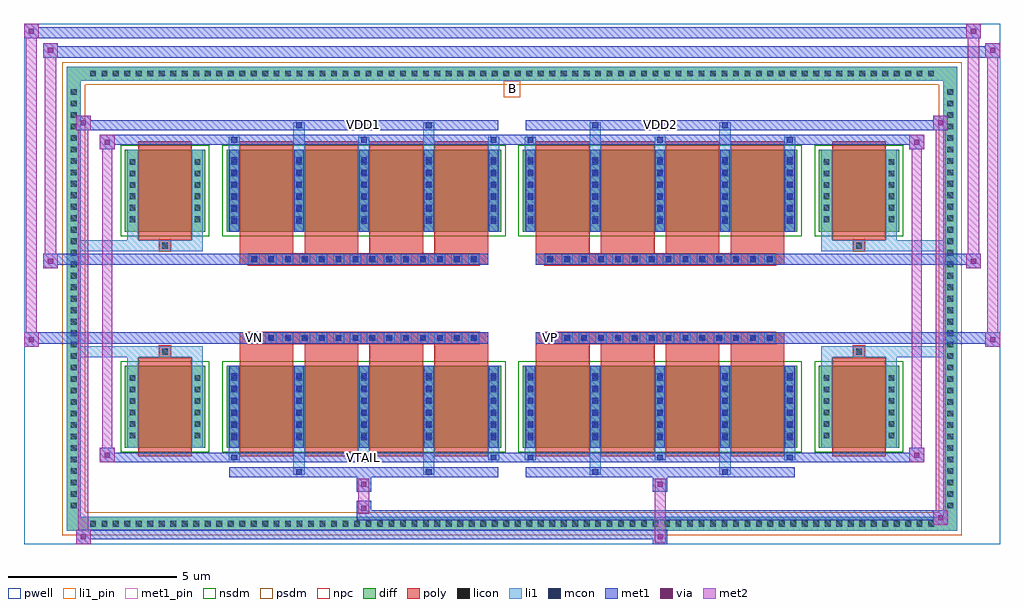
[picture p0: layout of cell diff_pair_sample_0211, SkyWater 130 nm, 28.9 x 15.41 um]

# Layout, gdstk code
import gdstk
lib = gdstk.Library(unit=1e-6, precision=5e-09)
def R(c, l, rs):  # rectangles x0, y0, x1, y1
    for r in rs: c.add(gdstk.rectangle(r[:2], r[2:], *l))
def A(c, l, x, y, w, h, nx, ny, dx, dy):  # array of equal rectangles
    R(c, l, [(x+i*dx, y+j*dy, x+i*dx+w, y+j*dy+h) for i in range(nx) for j in range(ny)])
def P(c, l, *ps):  # polygons
    for p in ps: c.add(gdstk.Polygon(p, *l))
pwell = (64, 44)
diff = (65, 20)
poly = (66, 20)
licon = (66, 44)
li1_pin = (67, 16)
li1 = (67, 20)
mcon = (67, 44)
met1_pin = (68, 16)
met1 = (68, 20)
via = (68, 44)
met2 = (69, 20)
nsdm = (93, 44)
psdm = (94, 20)
npc = (95, 20)

diff_pair_sample_0211 = lib.new_cell('diff_pair_sample_0211')
R(diff_pair_sample_0211, pwell, [(-14.45,-7.27,14.45,8.14), (-11.77,-5.46,-0.01,-0.8), (0.01,-5.46,11.77,-0.8), (-11.77,0.8,-0.01,5.46), (0.01,0.8,11.77,5.46)])
A(diff_pair_sample_0211, diff, -12.615, -6.87, 0.41, 0.41, 74, 2, 0.34, 13.33)
A(diff_pair_sample_0211, diff, -13.18, -6.325, 0.41, 0.41, 1, 37, 0, 0.34)
A(diff_pair_sample_0211, diff, 12.77, -6.325, 0.41, 0.41, 1, 37, 0, 0.34)
R(diff_pair_sample_0211, diff, [(-12.615,-6.87,12.615,-6.46), (-13.18,-6.325,-12.77,6.325), (12.77,-6.325,13.18,6.325), (-11.46,-4.415,-9.09,-1.985), (-8.45,-4.415,-0.32,-1.985), (0.32,-4.415,8.45,-1.985), (9.09,-4.415,11.46,-1.985), (-11.46,1.985,-9.09,4.415), (-8.45,1.985,-0.32,4.415), (0.32,1.985,8.45,4.415), (9.09,1.985,11.46,4.415), (-12.615,6.46,12.615,6.87)])
P(diff_pair_sample_0211, diff, [(13.18,6.87),(-13.18,6.87),(-13.18,-6.46),(-12.77,-6.46),(-12.77,6.46),(12.77,6.46),(12.77,-6.46),(-12.77,-6.46),(-13.18,-6.46),(-13.18,-6.87),(13.18,-6.87)])
A(diff_pair_sample_0211, poly, -8.06, -4.665, 1.59, 2.93, 4, 2, 1.92, 6.4)
A(diff_pair_sample_0211, poly, 0.71, -4.665, 1.59, 2.93, 4, 2, 1.92, 6.4)
A(diff_pair_sample_0211, poly, -8.06, -1.735, 1.59, 0.405, 4, 2, 1.92, 3.065)
A(diff_pair_sample_0211, poly, 0.71, -1.735, 1.59, 0.405, 4, 2, 1.92, 3.065)
A(diff_pair_sample_0211, poly, -7.8, -1.33, 0.33, 0.33, 14, 2, 0.5, 2.33)
A(diff_pair_sample_0211, poly, 0.97, -1.33, 0.33, 0.33, 14, 2, 0.5, 2.33)
R(diff_pair_sample_0211, poly, [(-11.07,-4.665,-9.48,-1.735), (9.48,-4.665,11.07,-1.735), (-10.44,-1.735,-10.11,-1.405), (-10.44,-1.735,-10.11,-1.405), (10.11,-1.735,10.44,-1.405), (10.11,-1.735,10.44,-1.405), (-8.06,-1.33,-0.71,-1), (0.71,-1.33,8.06,-1), (-8.06,1,-0.71,1.33), (0.71,1,8.06,1.33), (-10.44,1.405,-10.11,1.735), (-10.44,1.405,-10.11,1.735), (10.11,1.405,10.44,1.735), (10.11,1.405,10.44,1.735), (-11.07,1.735,-9.48,4.665), (9.48,1.735,11.07,4.665)])
A(diff_pair_sample_0211, licon, -12.495, -6.75, 0.17, 0.17, 74, 2, 0.34, 13.33)
A(diff_pair_sample_0211, licon, -13.06, -6.205, 0.17, 0.17, 1, 37, 0, 0.34)
A(diff_pair_sample_0211, licon, 12.89, -6.205, 0.17, 0.17, 1, 37, 0, 0.34)
A(diff_pair_sample_0211, licon, -11.32, -4.135, 0.17, 0.17, 1, 6, 0, 0.34)
A(diff_pair_sample_0211, licon, -9.4, -4.135, 0.17, 0.17, 1, 6, 0, 0.34)
A(diff_pair_sample_0211, licon, -8.31, -4.135, 0.17, 0.17, 5, 6, 1.92, 0.34)
A(diff_pair_sample_0211, licon, 0.46, -4.135, 0.17, 0.17, 5, 6, 1.92, 0.34)
A(diff_pair_sample_0211, licon, 9.23, -4.135, 0.17, 0.17, 1, 6, 0, 0.34)
A(diff_pair_sample_0211, licon, 11.15, -4.135, 0.17, 0.17, 1, 6, 0, 0.34)
A(diff_pair_sample_0211, licon, -7.72, -1.25, 0.17, 0.17, 14, 2, 0.5, 2.33)
A(diff_pair_sample_0211, licon, 1.05, -1.25, 0.17, 0.17, 14, 2, 0.5, 2.33)
A(diff_pair_sample_0211, licon, -11.32, 2.265, 0.17, 0.17, 1, 6, 0, 0.34)
A(diff_pair_sample_0211, licon, -9.4, 2.265, 0.17, 0.17, 1, 6, 0, 0.34)
A(diff_pair_sample_0211, licon, -8.31, 2.265, 0.17, 0.17, 5, 6, 1.92, 0.34)
A(diff_pair_sample_0211, licon, 0.46, 2.265, 0.17, 0.17, 5, 6, 1.92, 0.34)
A(diff_pair_sample_0211, licon, 9.23, 2.265, 0.17, 0.17, 1, 6, 0, 0.34)
A(diff_pair_sample_0211, licon, 11.15, 2.265, 0.17, 0.17, 1, 6, 0, 0.34)
R(diff_pair_sample_0211, licon, [(-10.36,-1.655,-10.19,-1.485), (10.19,-1.655,10.36,-1.485), (-10.36,1.485,-10.19,1.655), (10.19,1.485,10.36,1.655)])
R(diff_pair_sample_0211, li1_pin, [(-0.25,5.96,0.25,6.46)])
A(diff_pair_sample_0211, li1, -12.575, -6.83, 0.33, 0.33, 74, 2, 0.34, 13.33)
A(diff_pair_sample_0211, li1, -13.14, -6.285, 0.33, 0.33, 1, 37, 0, 0.34)
A(diff_pair_sample_0211, li1, 12.81, -6.285, 0.33, 0.33, 1, 37, 0, 0.34)
A(diff_pair_sample_0211, li1, -8.39, -4.79, 0.33, 0.375, 3, 2, 3.84, 9.205)
A(diff_pair_sample_0211, li1, -8.31, -4.79, 0.17, 0.17, 3, 2, 3.84, 9.41)
A(diff_pair_sample_0211, li1, 0.38, -4.79, 0.33, 0.375, 3, 2, 3.84, 9.205)
A(diff_pair_sample_0211, li1, 0.46, -4.79, 0.17, 0.17, 3, 2, 3.84, 9.41)
A(diff_pair_sample_0211, li1, -8.39, -4.415, 0.33, 2.43, 5, 2, 1.92, 6.4)
A(diff_pair_sample_0211, li1, 0.38, -4.415, 0.33, 2.43, 5, 2, 1.92, 6.4)
A(diff_pair_sample_0211, li1, -11.4, -4.215, 0.33, 0.33, 1, 6, 0, 0.34)
A(diff_pair_sample_0211, li1, -9.48, -4.215, 0.33, 0.33, 1, 6, 0, 0.34)
A(diff_pair_sample_0211, li1, -8.39, -4.215, 0.33, 0.33, 5, 6, 1.92, 0.34)
A(diff_pair_sample_0211, li1, 0.38, -4.215, 0.33, 0.33, 5, 6, 1.92, 0.34)
A(diff_pair_sample_0211, li1, 9.15, -4.215, 0.33, 0.33, 1, 6, 0, 0.34)
A(diff_pair_sample_0211, li1, 11.07, -4.215, 0.33, 0.33, 1, 6, 0, 0.34)
A(diff_pair_sample_0211, li1, -8.31, -4.185, 0.17, 0.17, 5, 6, 1.92, 0.36)
A(diff_pair_sample_0211, li1, -8.31, -4.185, 0.17, 1.97, 5, 2, 1.92, 6.4)
A(diff_pair_sample_0211, li1, 0.46, -4.185, 0.17, 0.17, 5, 6, 1.92, 0.36)
A(diff_pair_sample_0211, li1, 0.46, -4.185, 0.17, 1.97, 5, 2, 1.92, 6.4)
A(diff_pair_sample_0211, li1, -7.8, -1.33, 0.33, 0.33, 14, 2, 0.5, 2.33)
A(diff_pair_sample_0211, li1, 0.97, -1.33, 0.33, 0.33, 14, 2, 0.5, 2.33)
A(diff_pair_sample_0211, li1, -11.4, 2.185, 0.33, 0.33, 1, 6, 0, 0.34)
A(diff_pair_sample_0211, li1, -9.48, 2.185, 0.33, 0.33, 1, 6, 0, 0.34)
A(diff_pair_sample_0211, li1, -8.39, 2.185, 0.33, 0.33, 5, 6, 1.92, 0.34)
A(diff_pair_sample_0211, li1, 0.38, 2.185, 0.33, 0.33, 5, 6, 1.92, 0.34)
A(diff_pair_sample_0211, li1, 9.15, 2.185, 0.33, 0.33, 1, 6, 0, 0.34)
A(diff_pair_sample_0211, li1, 11.07, 2.185, 0.33, 0.33, 1, 6, 0, 0.34)
A(diff_pair_sample_0211, li1, -8.31, 2.215, 0.17, 0.17, 5, 6, 1.92, 0.36)
A(diff_pair_sample_0211, li1, 0.46, 2.215, 0.17, 0.17, 5, 6, 1.92, 0.36)
R(diff_pair_sample_0211, li1, [(-13.18,-6.87,-12.77,-6.46), (-13.18,-6.87,-12.77,-6.46), (-12.77,-6.87,12.77,-6.46), (12.77,-6.87,13.18,-6.46), (12.77,-6.87,13.18,-6.46), (-13.18,-6.46,-12.77,6.46), (12.77,-6.46,13.18,6.46), (-6.47,-5.22,-6.14,-4.415), (-6.39,-5.22,-6.22,-5.05), (-2.63,-5.22,-2.3,-4.415), (-2.55,-5.22,-2.38,-5.05), (2.3,-5.22,2.63,-4.415), (2.38,-5.22,2.55,-5.05), (6.14,-5.22,6.47,-4.415), (6.22,-5.22,6.39,-5.05), (-11.4,-4.415,-11.07,-1.985), (-9.48,-4.415,-9.15,-1.985), (9.15,-4.415,9.48,-1.985), (11.07,-4.415,11.4,-1.985), (-11.4,-1.985,-11.07,-1.405), (-9.48,-1.985,-9.15,-1.405), (9.15,-1.985,9.48,-1.405), (11.07,-1.985,11.4,-1.405), (-13.18,-1.735,-10.44,-1.405), (-11.4,-1.735,-10.44,-1.405), (-10.44,-1.735,-10.11,-1.405), (-10.11,-1.735,-9.15,-1.405), (9.15,-1.735,10.11,-1.405), (10.11,-1.735,10.44,-1.405), (10.11,-1.735,13.18,-1.405), (10.44,-1.735,11.4,-1.405), (-13.18,1.405,-10.44,1.735), (-11.4,1.405,-10.44,1.735), (-11.4,1.405,-11.07,1.985), (-10.44,1.405,-10.11,1.735), (-10.11,1.405,-9.15,1.735), (-9.48,1.405,-9.15,1.985), (9.15,1.405,10.11,1.735), (9.15,1.405,9.48,1.985), (10.11,1.405,10.44,1.735), (10.11,1.405,13.18,1.735), (10.44,1.405,11.4,1.735), (11.07,1.405,11.4,1.985), (-11.4,1.985,-11.07,4.415), (-9.48,1.985,-9.15,4.415), (9.15,1.985,9.48,4.415), (11.07,1.985,11.4,4.415), (-6.47,4.415,-6.14,5.22), (-2.63,4.415,-2.3,5.22), (2.3,4.415,2.63,5.22), (6.14,4.415,6.47,5.22), (-6.39,5.05,-6.22,5.22), (-2.55,5.05,-2.38,5.22), (2.38,5.05,2.55,5.22), (6.22,5.05,6.39,5.22), (-13.18,6.46,-12.77,6.87), (-13.18,6.46,-12.77,6.87), (-12.77,6.46,12.77,6.87), (12.77,6.46,13.18,6.87), (12.77,6.46,13.18,6.87)])
A(diff_pair_sample_0211, mcon, -8.31, -4.79, 0.17, 0.17, 3, 2, 3.84, 9.41)
A(diff_pair_sample_0211, mcon, 0.46, -4.79, 0.17, 0.17, 3, 2, 3.84, 9.41)
A(diff_pair_sample_0211, mcon, -8.31, -4.185, 0.17, 0.17, 5, 6, 1.92, 0.36)
A(diff_pair_sample_0211, mcon, 0.46, -4.185, 0.17, 0.17, 5, 6, 1.92, 0.36)
A(diff_pair_sample_0211, mcon, -7.72, -1.25, 0.17, 0.17, 14, 2, 0.5, 2.33)
A(diff_pair_sample_0211, mcon, 1.05, -1.25, 0.17, 0.17, 14, 2, 0.5, 2.33)
A(diff_pair_sample_0211, mcon, -8.31, 2.215, 0.17, 0.17, 5, 6, 1.92, 0.36)
A(diff_pair_sample_0211, mcon, 0.46, 2.215, 0.17, 0.17, 5, 6, 1.92, 0.36)
R(diff_pair_sample_0211, mcon, [(-6.39,-5.22,-6.22,-5.05), (-2.55,-5.22,-2.38,-5.05), (2.38,-5.22,2.55,-5.05), (6.22,-5.22,6.39,-5.05), (-6.39,5.05,-6.22,5.22), (-2.55,5.05,-2.38,5.22), (2.38,5.05,2.55,5.22), (6.22,5.05,6.39,5.22)])
R(diff_pair_sample_0211, met1_pin, [(-4.52,-4.83,-4.25,-4.56), (-7.77,-1.29,-7.5,-1.02), (1,-1.29,1.27,-1.02), (-4.52,5.01,-4.25,5.28), (4.25,5.01,4.52,5.28)])
A(diff_pair_sample_0211, met1, -8.37, -4.85, 0.29, 0.29, 3, 2, 3.84, 9.41)
A(diff_pair_sample_0211, met1, 0.4, -4.85, 0.29, 0.29, 3, 2, 3.84, 9.41)
A(diff_pair_sample_0211, met1, -8.37, -4.415, 0.29, 2.43, 5, 2, 1.92, 6.4)
A(diff_pair_sample_0211, met1, 0.4, -4.415, 0.29, 2.43, 5, 2, 1.92, 6.4)
A(diff_pair_sample_0211, met1, -8.37, -4.245, 0.29, 0.29, 5, 6, 1.92, 0.36)
A(diff_pair_sample_0211, met1, 0.4, -4.245, 0.29, 0.29, 5, 6, 1.92, 0.36)
A(diff_pair_sample_0211, met1, -7.78, -1.31, 0.29, 0.29, 14, 2, 0.5, 2.33)
A(diff_pair_sample_0211, met1, 0.99, -1.31, 0.29, 0.29, 14, 2, 0.5, 2.33)
A(diff_pair_sample_0211, met1, -8.37, 2.155, 0.29, 0.29, 5, 6, 1.92, 0.36)
A(diff_pair_sample_0211, met1, 0.4, 2.155, 0.29, 0.29, 5, 6, 1.92, 0.36)
R(diff_pair_sample_0211, met1, [(-12.91,-7.27,-12.48,-6.84), (4.17,-7.27,4.6,-6.84), (-12.91,-7.13,4.6,-6.84), (12.48,-6.7,12.91,-6.27), (-4.6,-6.56,12.91,-6.27), (-4.6,-6.42,-4.17,-5.99), (-4.6,-5.71,-4.17,-5.28), (4.17,-5.71,4.6,-5.28), (-8.37,-5.28,-0.4,-4.99), (-6.45,-5.28,-6.16,-4.99), (-2.61,-5.28,-2.32,-4.99), (0.4,-5.28,8.37,-4.99), (2.32,-5.28,2.61,-4.99), (6.16,-5.28,6.45,-4.99), (-12.2,-4.85,-11.77,-4.42), (-12.2,-4.85,-8.37,-4.56), (-8.37,-4.85,-0.4,-4.56), (-0.4,-4.85,0.4,-4.56), (0.4,-4.85,8.37,-4.56), (8.37,-4.85,12.2,-4.56), (11.77,-4.85,12.2,-4.42), (-14.45,-1.43,-14.02,-1), (14.02,-1.43,14.45,-1), (-14.45,-1.33,-0.71,-1), (-8.06,-1.33,-0.71,-1), (0.71,-1.33,8.06,-1), (0.71,-1.33,14.45,-1), (-13.88,0.9,-13.45,1.33), (13.45,0.9,13.88,1.33), (-13.88,1,-8.06,1.33), (-8.06,1,-0.71,1.33), (0.71,1,8.06,1.33), (8.06,1,13.88,1.33), (-12.2,4.42,-11.77,4.85), (11.77,4.42,12.2,4.85), (-12.2,4.56,-8.37,4.85), (-8.37,4.56,-0.4,4.85), (-0.4,4.56,0.4,4.85), (0.4,4.56,8.37,4.85), (8.37,4.56,12.2,4.85), (-12.91,4.99,-12.48,5.42), (-12.91,4.99,-8.37,5.28), (-8.37,4.99,-0.4,5.28), (-6.45,4.99,-6.16,5.28), (-2.61,4.99,-2.32,5.28), (0.4,4.99,8.37,5.28), (2.32,4.99,2.61,5.28), (6.16,4.99,6.45,5.28), (8.37,4.99,12.91,5.28), (12.48,4.99,12.91,5.42), (-13.88,7.14,-13.45,7.57), (-13.88,7.14,-11.77,7.47), (-11.77,7.14,11.77,7.47), (11.77,7.14,14.45,7.47), (14.02,7.14,14.45,7.57), (-14.45,7.71,-14.02,8.14), (-14.45,7.71,-11.77,8.04), (-11.77,7.71,11.77,8.04), (11.77,7.71,13.88,8.04), (13.45,7.71,13.88,8.14)])
R(diff_pair_sample_0211, via, [(-12.77,-7.13,-12.62,-6.98), (4.31,-7.13,4.46,-6.98), (12.62,-6.56,12.77,-6.41), (-4.46,-6.28,-4.31,-6.13), (-4.46,-5.57,-4.31,-5.42), (4.31,-5.57,4.46,-5.42), (-12.06,-4.71,-11.91,-4.56), (11.91,-4.71,12.06,-4.56), (-14.31,-1.29,-14.16,-1.14), (14.16,-1.29,14.31,-1.14), (-13.74,1.04,-13.59,1.19), (13.59,1.04,13.74,1.19), (-12.06,4.56,-11.91,4.71), (11.91,4.56,12.06,4.71), (-12.77,5.13,-12.62,5.28), (12.62,5.13,12.77,5.28), (-13.74,7.28,-13.59,7.43), (14.16,7.28,14.31,7.43), (-14.31,7.85,-14.16,8), (13.59,7.85,13.74,8)])
R(diff_pair_sample_0211, met2, [(-12.91,-7.27,-12.48,-6.84), (-12.84,-7.27,-12.55,5.42), (-12.55,-7.27,-12.48,-6.84), (-12.86,-7.22,-12.53,-6.89), (4.22,-7.22,4.55,-6.89), (4.22,-6.89,4.55,-5.66), (12.48,-6.7,12.91,-6.27), (12.55,-6.7,12.84,5.42), (12.84,-6.7,12.91,-6.27), (12.53,-6.65,12.86,-6.32), (-4.55,-6.37,-4.22,-6.04), (-4.55,-6.04,-4.22,-5.66), (-4.55,-5.66,-4.22,-5.33), (4.22,-5.66,4.55,-5.33), (-12.2,-4.85,-11.77,-4.42), (-12.13,-4.85,-11.84,4.85), (-11.84,-4.85,-11.77,-4.42), (11.77,-4.85,12.2,-4.42), (11.84,-4.85,12.13,4.85), (12.13,-4.85,12.2,-4.42), (-12.15,-4.8,-11.82,-4.47), (11.82,-4.8,12.15,-4.47), (-14.45,-1.43,-14.02,-1), (-14.4,-1.43,-14.07,8.14), (-14.07,-1.43,-14.02,-1), (14.02,-1.43,14.45,-1), (14.07,-1.43,14.4,7.57), (14.4,-1.43,14.45,-1), (-14.4,-1.38,-14.07,-1.05), (14.07,-1.38,14.4,-1.05), (-13.88,0.9,-13.45,1.33), (-13.83,0.9,-13.5,7.57), (-13.5,0.9,-13.45,1.33), (13.45,0.9,13.88,1.33), (13.5,0.9,13.83,8.14), (13.83,0.9,13.88,1.33), (-13.83,0.95,-13.5,1.28), (13.5,0.95,13.83,1.28), (-12.2,4.42,-11.77,4.85), (-11.84,4.42,-11.77,4.85), (11.77,4.42,12.2,4.85), (12.13,4.42,12.2,4.85), (-12.15,4.47,-11.82,4.8), (11.82,4.47,12.15,4.8), (-12.91,4.99,-12.48,5.42), (-12.55,4.99,-12.48,5.42), (12.48,4.99,12.91,5.42), (12.84,4.99,12.91,5.42), (-12.86,5.04,-12.53,5.37), (12.53,5.04,12.86,5.37), (-13.88,7.14,-13.45,7.57), (-13.5,7.14,-13.45,7.57), (14.02,7.14,14.45,7.57), (14.4,7.14,14.45,7.57), (-13.83,7.19,-13.5,7.52), (14.07,7.19,14.4,7.52), (-14.45,7.71,-14.02,8.14), (-14.07,7.71,-14.02,8.14), (13.45,7.71,13.88,8.14), (13.83,7.71,13.88,8.14), (-14.4,7.76,-14.07,8.09), (13.5,7.76,13.83,8.09)])
R(diff_pair_sample_0211, nsdm, [(-11.59,-4.545,-8.96,-1.855), (-8.58,-4.545,-0.19,-1.855), (0.19,-4.545,8.58,-1.855), (8.96,-4.545,11.59,-1.855), (-11.59,1.855,-8.96,4.545), (-8.58,1.855,-0.19,4.545), (0.19,1.855,8.58,4.545), (8.96,1.855,11.59,4.545)])
P(diff_pair_sample_0211, psdm, [(13.31,7),(-13.31,7),(-13.31,-6.33),(-12.64,-6.33),(-12.64,6.33),(12.64,6.33),(12.64,-6.33),(-12.64,-6.33),(-13.31,-6.33),(-13.31,-7),(13.31,-7)])
A(diff_pair_sample_0211, npc, -7.82, -1.35, 0.37, 0.37, 14, 2, 0.5, 2.33)
A(diff_pair_sample_0211, npc, 0.95, -1.35, 0.37, 0.37, 14, 2, 0.5, 2.33)
R(diff_pair_sample_0211, npc, [(-10.46,-1.755,-10.09,-1.385), (10.09,-1.755,10.46,-1.385), (-7.82,-1.35,-6.95,-0.98), (-7.82,-1.35,-6.95,-0.98), (-7.32,-1.35,-6.45,-0.98), (-7.32,-1.35,-6.45,-0.98), (-6.82,-1.35,-5.95,-0.98), (-6.82,-1.35,-5.95,-0.98), (-6.32,-1.35,-5.45,-0.98), (-6.32,-1.35,-5.45,-0.98), (-5.82,-1.35,-4.95,-0.98), (-5.82,-1.35,-4.95,-0.98), (-5.32,-1.35,-4.45,-0.98), (-5.32,-1.35,-4.45,-0.98), (-4.82,-1.35,-3.95,-0.98), (-4.82,-1.35,-3.95,-0.98), (-4.32,-1.35,-3.45,-0.98), (-4.32,-1.35,-3.45,-0.98), (-3.82,-1.35,-2.95,-0.98), (-3.82,-1.35,-2.95,-0.98), (-3.32,-1.35,-2.45,-0.98), (-3.32,-1.35,-2.45,-0.98), (-2.82,-1.35,-1.95,-0.98), (-2.82,-1.35,-1.95,-0.98), (-2.32,-1.35,-1.45,-0.98), (-2.32,-1.35,-1.45,-0.98), (-1.82,-1.35,-0.95,-0.98), (-1.82,-1.35,-0.95,-0.98), (0.95,-1.35,1.82,-0.98), (0.95,-1.35,1.82,-0.98), (1.45,-1.35,2.32,-0.98), (1.45,-1.35,2.32,-0.98), (1.95,-1.35,2.82,-0.98), (1.95,-1.35,2.82,-0.98), (2.45,-1.35,3.32,-0.98), (2.45,-1.35,3.32,-0.98), (2.95,-1.35,3.82,-0.98), (2.95,-1.35,3.82,-0.98), (3.45,-1.35,4.32,-0.98), (3.45,-1.35,4.32,-0.98), (3.95,-1.35,4.82,-0.98), (3.95,-1.35,4.82,-0.98), (4.45,-1.35,5.32,-0.98), (4.45,-1.35,5.32,-0.98), (4.95,-1.35,5.82,-0.98), (4.95,-1.35,5.82,-0.98), (5.45,-1.35,6.32,-0.98), (5.45,-1.35,6.32,-0.98), (5.95,-1.35,6.82,-0.98), (5.95,-1.35,6.82,-0.98), (6.45,-1.35,7.32,-0.98), (6.45,-1.35,7.32,-0.98), (6.95,-1.35,7.82,-0.98), (6.95,-1.35,7.82,-0.98), (-7.82,0.98,-6.95,1.35), (-7.82,0.98,-6.95,1.35), (-7.32,0.98,-6.45,1.35), (-7.32,0.98,-6.45,1.35), (-6.82,0.98,-5.95,1.35), (-6.82,0.98,-5.95,1.35), (-6.32,0.98,-5.45,1.35), (-6.32,0.98,-5.45,1.35), (-5.82,0.98,-4.95,1.35), (-5.82,0.98,-4.95,1.35), (-5.32,0.98,-4.45,1.35), (-5.32,0.98,-4.45,1.35), (-4.82,0.98,-3.95,1.35), (-4.82,0.98,-3.95,1.35), (-4.32,0.98,-3.45,1.35), (-4.32,0.98,-3.45,1.35), (-3.82,0.98,-2.95,1.35), (-3.82,0.98,-2.95,1.35), (-3.32,0.98,-2.45,1.35), (-3.32,0.98,-2.45,1.35), (-2.82,0.98,-1.95,1.35), (-2.82,0.98,-1.95,1.35), (-2.32,0.98,-1.45,1.35), (-2.32,0.98,-1.45,1.35), (-1.82,0.98,-0.95,1.35), (-1.82,0.98,-0.95,1.35), (0.95,0.98,1.82,1.35), (0.95,0.98,1.82,1.35), (1.45,0.98,2.32,1.35), (1.45,0.98,2.32,1.35), (1.95,0.98,2.82,1.35), (1.95,0.98,2.82,1.35), (2.45,0.98,3.32,1.35), (2.45,0.98,3.32,1.35), (2.95,0.98,3.82,1.35), (2.95,0.98,3.82,1.35), (3.45,0.98,4.32,1.35), (3.45,0.98,4.32,1.35), (3.95,0.98,4.82,1.35), (3.95,0.98,4.82,1.35), (4.45,0.98,5.32,1.35), (4.45,0.98,5.32,1.35), (4.95,0.98,5.82,1.35), (4.95,0.98,5.82,1.35), (5.45,0.98,6.32,1.35), (5.45,0.98,6.32,1.35), (5.95,0.98,6.82,1.35), (5.95,0.98,6.82,1.35), (6.45,0.98,7.32,1.35), (6.45,0.98,7.32,1.35), (6.95,0.98,7.82,1.35), (6.95,0.98,7.82,1.35), (-10.46,1.385,-10.09,1.755), (10.09,1.385,10.46,1.755)])
diff_pair_sample_0211.add(gdstk.Label('VTAIL', (-4.385,-4.695), layer=68, texttype=5))
diff_pair_sample_0211.add(gdstk.Label('VN', (-7.635,-1.155), layer=68, texttype=5))
diff_pair_sample_0211.add(gdstk.Label('VP', (1.135,-1.155), layer=68, texttype=5))
diff_pair_sample_0211.add(gdstk.Label('B', (0,6.21), layer=67, texttype=5))
diff_pair_sample_0211.add(gdstk.Label('VDD2', (4.385,5.145), layer=68, texttype=5))
diff_pair_sample_0211.add(gdstk.Label('VDD1', (-4.385,5.145), layer=68, texttype=5))

lib.write_gds('diff_pair_sample_0211.gds')
